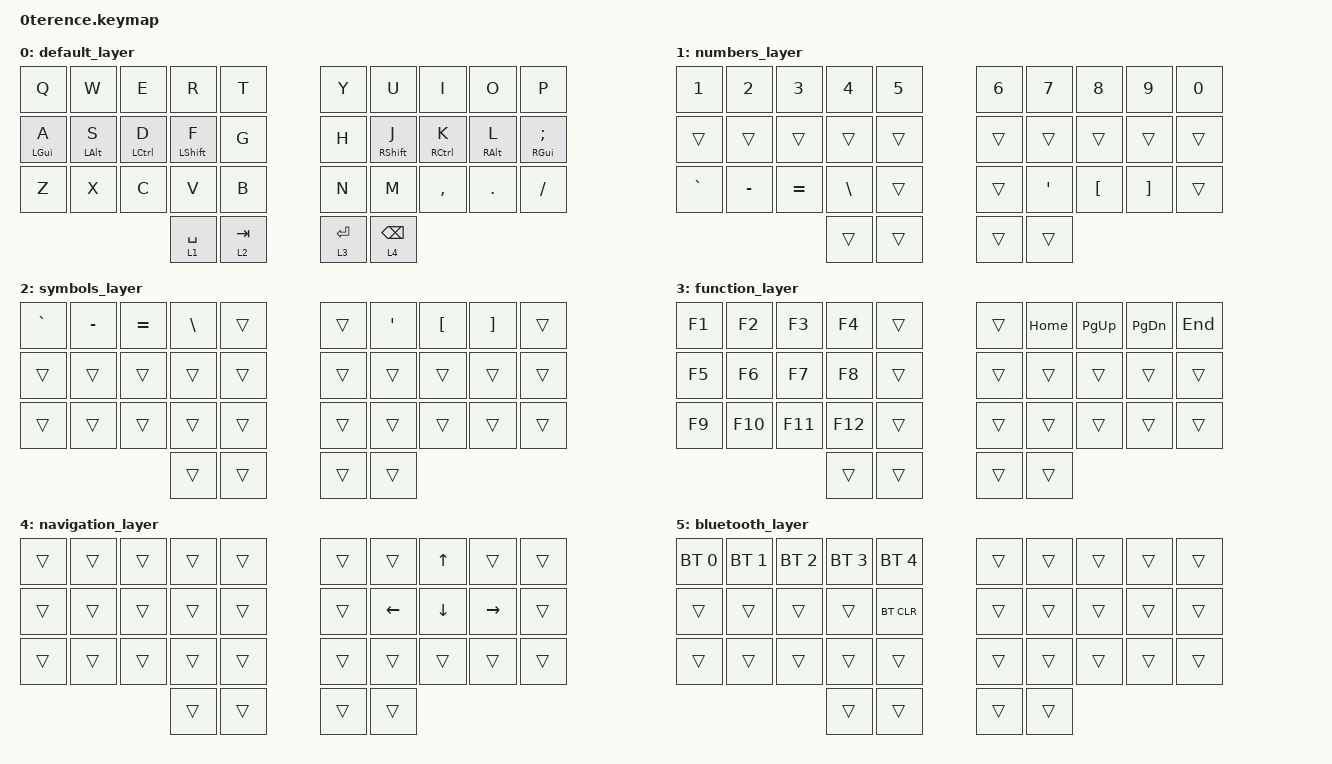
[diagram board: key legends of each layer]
/*
 * Copyright (c) 2025 Terence Ng
 * SPDX-License-Identifier: MIT
 */

#include <behaviors.dtsi>
#include <dt-bindings/zmk/keys.h>
#include <dt-bindings/zmk/bt.h>

/ {
    combos {
        compatible = "zmk,combos";
        
        combo_caps {
            timeout-ms = <50>;
            key-positions = <13 16>;  // F + J positions
            bindings = <&kp CAPS>;
        };

        combo_layer_lock_left {
            timeout-ms = <50>;
            key-positions = <30 31>;  // Left thumb keys
            bindings = <&tog 1>;
        };
    };

    behaviors {
        hm: homerow_mods {
            compatible = "zmk,behavior-hold-tap";
            #binding-cells = <2>;
            tapping-term-ms = <200>;
            quick-tap-ms = <0>;
            flavor = "tap-preferred";
            bindings = <&kp>, <&kp>;
        };
    };

    keymap {
        compatible = "zmk,keymap";

        default_layer {
            bindings = <
        &kp Q        &kp W        &kp E         &kp R         &kp T           &kp Y     &kp U         &kp I         &kp O         &kp P
        &hm LGUI A   &hm LALT S   &hm LCTRL D   &hm LSHIFT F  &kp G           &kp H     &hm RSHIFT J  &hm RCTRL K   &hm RALT L    &hm RGUI SEMI
        &kp Z        &kp X        &kp C         &kp V         &kp B           &kp N     &kp M         &kp COMMA     &kp DOT       &kp FSLH
                                                &lt 1 SPACE   &lt 2 TAB       &lt 3 RET &lt 4 BSPC
            >;
        };

        numbers_layer {
            bindings = <
        &kp N1       &kp N2       &kp N3        &kp N4        &kp N5          &kp N6    &kp N7        &kp N8        &kp N9        &kp N0
        &trans       &trans       &trans        &trans        &trans          &trans    &trans        &trans        &trans        &trans
        &kp GRAVE    &kp MINUS    &kp EQUAL     &kp BSLH      &trans          &trans    &kp SQT       &kp LBKT      &kp RBKT      &trans
                                                &trans        &trans          &trans    &trans
            >;
        };

        symbols_layer {
            bindings = <
        &kp GRAVE    &kp MINUS    &kp EQUAL     &kp BSLH      &trans          &trans    &kp SQT       &kp LBKT      &kp RBKT      &trans
        &trans       &trans       &trans        &trans        &trans          &trans    &trans        &trans        &trans        &trans
        &trans       &trans       &trans        &trans        &trans          &trans    &trans        &trans        &trans        &trans
                                                &trans        &trans          &trans    &trans
            >;
        };

        function_layer {
            bindings = <
        &kp F1       &kp F2       &kp F3        &kp F4        &trans          &trans    &kp HOME      &kp PG_UP     &kp PG_DN     &kp END
        &kp F5       &kp F6       &kp F7        &kp F8        &trans          &trans    &trans        &trans        &trans        &trans
        &kp F9       &kp F10      &kp F11       &kp F12       &trans          &trans    &trans        &trans        &trans        &trans
                                                &trans        &trans          &trans    &trans
            >;
        };

        navigation_layer {
            bindings = <
        &trans       &trans       &trans        &trans        &trans          &trans    &trans        &kp UP        &trans        &trans
        &trans       &trans       &trans        &trans        &trans          &trans    &kp LEFT      &kp DOWN      &kp RIGHT     &trans
        &trans       &trans       &trans        &trans        &trans          &trans    &trans        &trans        &trans        &trans
                                                &trans        &trans          &trans    &trans
            >;
        };

        bluetooth_layer {
            bindings = <
        &bt BT_SEL 0 &bt BT_SEL 1 &bt BT_SEL 2  &bt BT_SEL 3  &bt BT_SEL 4    &trans    &trans        &trans        &trans        &trans
        &trans       &trans       &trans        &trans        &bt BT_CLR      &trans    &trans        &trans        &trans        &trans
        &trans       &trans       &trans        &trans        &trans          &trans    &trans        &trans        &trans        &trans
                                                &trans        &trans          &trans    &trans
            >;
        };
    };
};
